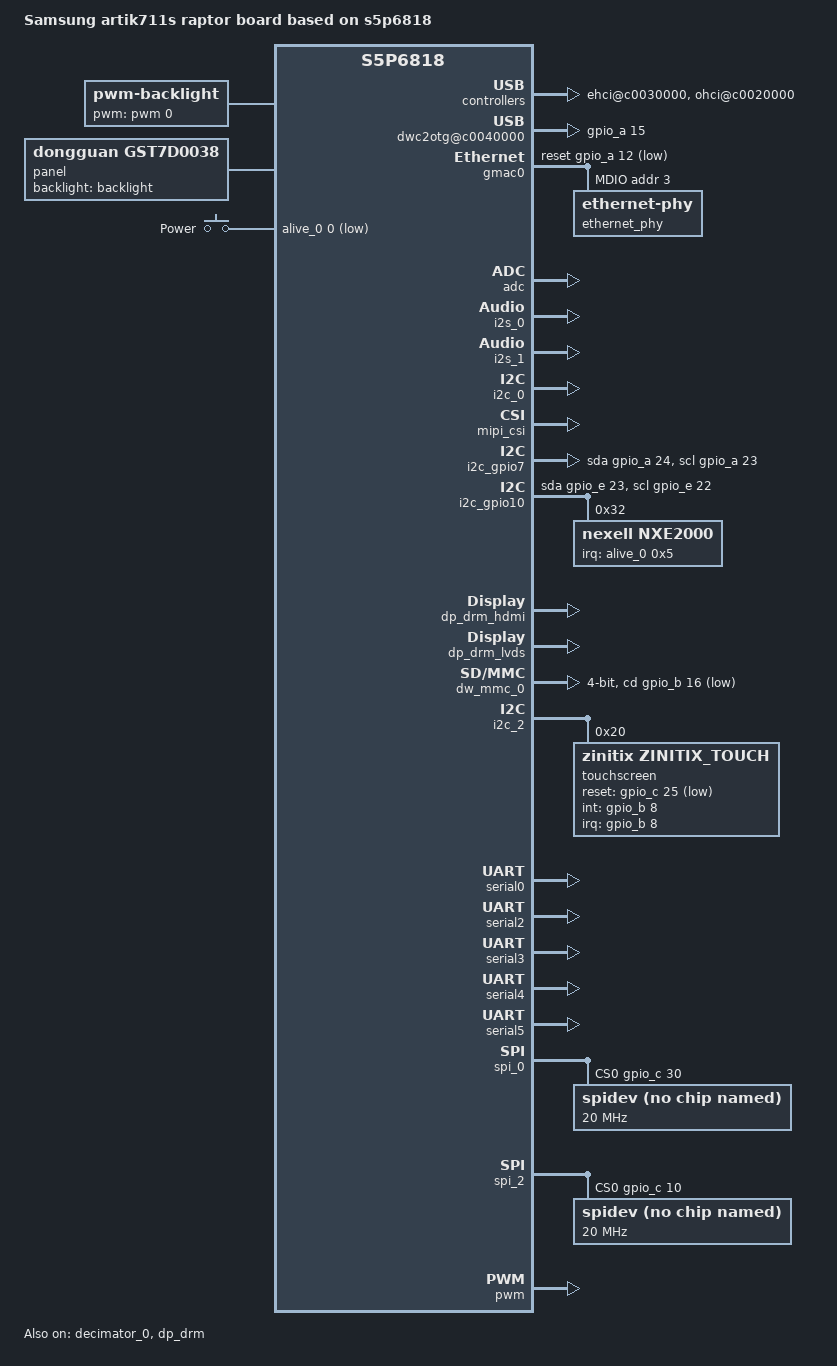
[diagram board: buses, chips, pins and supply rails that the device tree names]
/*
 * Copyright (C) 2018 Samsung Electronics
 * Author: Jaewon Kim <jaewon02.kim@samsung.com>
 *
 * This program is free software; you can redistribute it and/or
 * modify it under the terms of the GNU General Public License
 * as published by the Free Software Foundation; either version 2
 * of the License, or (at your option) any later version.
 *
 * This program is distributed in the hope that it will be useful,
 * but WITHOUT ANY WARRANTY; without even the implied warranty of
 * MERCHANTABILITY or FITNESS FOR A PARTICULAR PURPOSE.  See the
 * GNU General Public License for more details.
 *
 * You should have received a copy of the GNU General Public License
 * along with this program.  If not, see <http://www.gnu.org/licenses/>.
 */

/dts-v1/;
#include <dt-bindings/interrupt-controller/irq.h>
#include <dt-bindings/input/input.h>
#include "s5p6818-artik711s.dtsi"

#define PMIC_PDATA_INIT(_id, _rname, _minuv,	\
			_maxuv, _init_uv, _init_enable,		\
			_set_init_uV, _slp_slots)	\
		regulator-name = _rname;		\
		regulator-min-microvolt = <_minuv>;	\
		regulator-max-microvolt = <_maxuv>;	\
		nx,id = <_id>;				\
		nx,init_enable = <_init_enable>;	\
		nx,init_uV = <_init_uv>;		\
		nx,set_init_uV = <_set_init_uV>;	\
		nx,sleep_slots = <_slp_slots>;

/ {
	model = "Samsung artik711s raptor board based on s5p6818";
	compatible = "samsung,artik711s-raptor", "samsung,artik710-raptor",
		   "samsung,artik711s", "samsung,artik710",
		   "nexell,s5p6818";

	aliases {
		i2c7 = &i2c_gpio7;
		i2c10 = &i2c_gpio10;
	};

	nx-v4l2 {
		status = "okay";
	};

	nx-devfreq {
		pll = <0>;
		status = "okay";
	};

	soc {

		clocks {
			vip0:vip@c00c1000 { clock-frequency = <300000000>;};
			sdhc0:sdhc@c00c5000 {
			      clk-input = <(I_PLL2 | I_GATE_PCLK)>;
			};
			sdhc1:sdhc@c00cc000 {
			      clk-input = <(I_PLL2 | I_GATE_PCLK)>;
			};
			sdhc2:sdhc@c00cd000 {
			      clk-input = <(I_PLL2 | I_GATE_PCLK)>;
			};
			timer0:timer@c00b9000 {
			      clk-input = <I_PLL2>;
			};
			timer1:timer@c00bb000 {
			      clk-input = <I_PLL2>;
			};
			pwm0:pwm0@c00ba000 {
			      clk-input = <I_PLL2>;
			};
		};

		rtc@c0010c00 {
			status = "okay";
		};

		timer@c0017000 {
			clocks =  <&timer0>, <&timer1>;
			clock-names = "timer0", "timer1";
		};

		nexell_usbphy: nexell-usbphy@c0012000 {
			status = "okay";
		};

		ehci@c0030000 {
			samsung,vbus-gpio = <&gpio_a 16 0>;
			status = "okay";
			port@0 {
				status = "okay";
			};
			port@1 {
				status = "okay";
			};
		};

		ohci@c0020000 {
			status = "okay";
			port@0 {
				status = "okay";
			};
		};

		dwc2otg@c0040000 {
			gpios = <&gpio_a 15 0>;
			status = "okay";
		};

		gmac0:ethernet@c0060000 {
			pinctrl-names = "default";
			pinctrl-0 = <&gmac_pins>;

			status = "okay";
			#address-cells = <0x1>;
			#size-cells = <0x0>;

			snps,phy-addr = <3>;
			snps,reset-gpio = <&gpio_a 12 0>;
			snps,reset-active-low;
			snps,reset-delays-us = <0 10000 30000>;

			boost-busfreq;
			boost-busfreq-timeout = <100000>;

			mdio {
				#address-cells = <1>;
				#size-cells = <0>;

				ethernet_phy: ethernet-phy@3 {
					reg = <3>;
					fixed-link {
						speed = <1000>;
						full-duplex;
					};
				};
			};
		};

		adc:adc@c0053000 {
			status = "okay";
		};

		watchdog@c0019000 {
			status = "okay";
		};

		pinctrl@C0010000 {
			pmic_irq:pmic_irq{
				nexell,pins = "alive-5";
				nexell,pin-function = <NX_PIN_FUNC0>;
				nexell,pin-pull = <NX_PIN_PULL_UP>;
				nexell,pin-strength = <NX_PIN_STR0>;
			};

			sdmmc2_cclk: sdmmc2-cclk {
				nexell,pin-strength = <NX_PIN_STR3>;
			};

			sdmmc2_cmd: sdmmc2-cmd {
				nexell,pin-strength = <NX_PIN_STR3>;
			};

			sdmmc2_bus4: sdmmc2-bus-width4 {
				nexell,pin-strength = <NX_PIN_STR2>;
			};

			tsp_irq: tsp-irq {
				nexell,pins = "gpiob-8";
				nexell,pin-function = <NX_PIN_FUNC0>;
				nexell,pin-pull = <NX_PIN_PULL_UP>;
				nexell,pin-strength = <NX_PIN_STR0>;
			};

			tsp_reset: tsp-reset {
				nexell,pins = "gpioc-25";
				nexell,pin-function = <NX_PIN_FUNC0>;
				nexell,pin-pull = <NX_PIN_PULL_UP>;
				nexell,pin-strength = <NX_PIN_STR0>;
			};
		};

		video-codec@c0080000 {
			status = "okay";
			sram = <0 0>;
		};

		i2s_0:i2s@c0055000 {
			#sound-dai-cells = <1>;
			master-mode = <1>;
			mclk-in = <0>;
			trans-mode = <0>;
			frame-bit = <32>;
			sample-rate = <48000>;
			pre-supply-mclk = <1>;
			status = "okay";
		};

		i2s_1:i2s@c0056000 {
			#sound-dai-cells = <1>;
			master-mode = <1>;
			mclk-in = <0>;
			trans-mode = <0>;
			frame-bit = <32>;
			sample-rate = <48000>;
			pre-supply-mclk = <1>;
			status = "okay";
		};

		vip_0:vip@c0063000 {
			status = "okay";
		};

		i2c_0:i2c@c00a4000 {
			samsung,i2c-max-bus-freq = <400000>;
			status = "okay";
		};

		mipi_csi:mipi_csi@c00d0000 {
			data_lane = <2>;
			pllval = <750>;
			hssettle = <7 7 7 7>;
			status = "okay";
		};

		clipper_0:clipper0@c0063000 {
			interface_type = <NX_CAPTURE_INTERFACE_MIPI_CSI>;
			gpios = <&gpio_a 17 0 &gpio_a 3 0 &gpio_a 6 0>;
			data_order = <NX_VIN_Y0CBY1CR>;
			status = "okay";
			sensor {
				type = <NX_CAPTURE_SENSOR_I2C>;
				i2c_name = "S5K4ECGA";
				i2c_adapter = <0>;
				addr = <0x56>;
			};
			power {
				enable_seq = <
					NX_ACTION_START NX_ACTION_TYPE_GPIO 2 1 2 NX_ACTION_END
					NX_ACTION_START NX_ACTION_TYPE_GPIO 1 1 1 NX_ACTION_END
					NX_ACTION_START NX_ACTION_TYPE_GPIO 0 1 1 NX_ACTION_END
				>;

				disable_seq = <
					NX_ACTION_START NX_ACTION_TYPE_GPIO 0 0 1 NX_ACTION_END
					NX_ACTION_START NX_ACTION_TYPE_GPIO 1 0 1 NX_ACTION_END
					NX_ACTION_START NX_ACTION_TYPE_GPIO 2 0 2 NX_ACTION_END
				>;
			};
		};

		scaler@c0066000 {
			status = "okay";
		};
	};	/*** soc ***/

	backlight: pwm-backlight {
		compatible = "pwm-backlight";
		pwms = <&pwm 0 20000 0>;
		pwm-names = "pwm-backlight";
		brightness-levels = < 0  1  2  3  4  5  6  7  8  9
				     10 11 12 13 14 15 16 17 18 19
				     20 21 22 23 24 25 26 27 28 29
				     30 31 32 33 34 35 36 37 38 39
				     40 41 42 43 44 45 46 47 48 49
				     50 51 52 53 54 55 56 57 58 59
				     60 61 62 63 64 65 66 67 68 69
				     70 71 72 73 74 75 76 77 78 79
				     80 81 82 83 84 85 86 87 88 89
				     90 91 92 93 94 95 96 97 98 99
				    100>;
		default-brightness-level = <60>;
		status = "okay";
	};

	panel: panel-simple {
		compatible = "dongguan,gst7d0038";
		backlight = <&backlight>;
		status = "okay";

		port {
			lvds_panel: endpoint {
			};
		};
	};

	i2c_gpio7:i2c@7 {
		compatible = "i2c-gpio";
		gpios = <&gpio_a 24 0 /* sda */
			&gpio_a 23 0 /* scl */
			>;
		i2c-gpio,delay-us = <100>;
		#address-cells = <1>;
		#size-cells = <0>;
	};

	i2c_gpio10: i2c@10 {
		compatible = "i2c-gpio";
		gpios = <&gpio_e 23 0	/* sda */
			&gpio_e 22 0	/* scl */
			>;

		i2c-gpio,delay-us = <1>;	/* ~100kHz */
		#address-cells = <1>;
		#size-cells = <0>;
		status = "okay";

		nxe2000@32 {
			compatible = "nexell,nxe2000";
			reg = <0x32>;
			interrupt-parent = <&alive_0>;
			interrupts = <0x5 IRQ_TYPE_EDGE_FALLING>;
			pinctrl-names = "default";
			pinctrl-0 = <&pmic_irq>;
		};
	};

	snd_null: snd_null@10 {
		#sound-dai-cells = <0>;
		compatible = "nexell,snd-null";
		#address-cells = <1>;
		#size-cells = <0>;
		reg = <0 0>;
	};

	sound0: sound@0 {
		compatible = "simple-audio-card";
		simple-audio-card,name = "Artik710 raptor Audio";
		simple-audio-card,mclk-fs = <256>;
		status = "okay";

		simple-audio-card,dai-link@0 {
			format = "i2s";
			cpu {
				sound-dai = <&i2s_0 0>;
			};

			codec {
				sound-dai = <&snd_null>;
			};
		};

		simple-audio-card,dai-link@1 {
			cpu {
				sound-dai = <&i2s_1 0>;
			};

			codec {
				sound-dai = <&snd_null>;
			};
		};
	};

	gpio_key: gpio_keys {
		compatible = "gpio-keys";
		#address-cells = <1>;
		#size-cells = <0>;

		power {
			label = "Power";
			gpios = <&alive_0 0 1>;
			linux,code = <KEY_POWER>;
			gpio-key,wakeup;
		};
	};

	regulators {
		VCC_DCDC0:
			dcdc1	{ PMIC_PDATA_INIT( 0,
				"nxe2000_dcdc1",
				900000, 1500000,
				1100000, 1, 0, 0x4)
				regulator-always-on;
				regulator-boot-on;};
		VCC_DCDC1:
			dcdc2	{ PMIC_PDATA_INIT( 1,
				"nxe2000_dcdc2",
				1000000, 1500000,
				1200000, 1, 0, 0x4)
				regulator-always-on;
				regulator-boot-on;};
		VCC_DCDC2:
			dcdc3	{ PMIC_PDATA_INIT( 2,
				"nxe2000_dcdc3",
				1000000, 3500000,
				3300000, 1, 1, 0xF)
				regulator-always-on;
				regulator-boot-on;};
		VCC_DCDC3:
			dcdc4	{ PMIC_PDATA_INIT( 3,
				"nxe2000_dcdc4",
				1000000, 2000000,
				1500000, 1, 0, 0xF)
				regulator-always-on;
				regulator-boot-on;};
		VCC_DCDC4:
			dcdc5	{ PMIC_PDATA_INIT( 4,
				"nxe2000_dcdc5",
				1000000, 2000000,
				1500000, 1, 0, 0x4)
				regulator-always-on;
				regulator-boot-on;};
		VCC_LDO0:
			ldo1	{ PMIC_PDATA_INIT( 5,
				"nxe2000_ldo1",
				1000000, 3500000,
				3300000, 0, 1, 0x0)
				regulator-boot-on;};
		VCC_LDO1:
			ldo2	{ PMIC_PDATA_INIT( 6,
				"nxe2000_ldo2",
				1000000, 3500000,
				3300000, 0, 1, 0x0)
				regulator-boot-on;};
		VCC_LDO2:
			ldo3	{ PMIC_PDATA_INIT( 7,
				"nxe2000_ldo3",
				1000000, 3500000,
				1800000, 1, 1, 0xF)
				regulator-always-on;
				regulator-boot-on;};
		VCC_LDO3:
			ldo4	{ PMIC_PDATA_INIT( 8,
				"nxe2000_ldo4",
				1000000, 3500000,
				1800000, 1, 1, 0x2)
				regulator-always-on;
				regulator-boot-on;};
		VCC_LDO4:
			ldo5	{ PMIC_PDATA_INIT( 9,
				"nxe2000_ldo5",
				1000000, 3500000,
				3300000, 0, 1, 0x0)
				regulator-boot-on;};
		VCC_LDO5:
			ldo6	{ PMIC_PDATA_INIT(10,
				"nxe2000_ldo6",
				1000000, 3500000,
				3300000, 1, 1, 0xF)
				regulator-always-on;
				regulator-boot-on;};
		VCC_LDO6:
			ldo7	{ PMIC_PDATA_INIT(11,
				"nxe2000_ldo7",
				1000000, 3500000,
				3300000, 1, 1, 0x0)
				regulator-always-on;
				regulator-boot-on;};
		VCC_LDO7:
			ldo8	{ PMIC_PDATA_INIT(12,
				"nxe2000_ldo8",
				1000000, 3500000,
				3300000, 0, 1, 0xF)
				regulator-boot-on;};
		VCC_LDO8:
			ldo9	{ PMIC_PDATA_INIT(13,
				"nxe2000_ldo9",
				1000000, 3500000,
				1800000, 0, 1, 0x2)
				regulator-boot-on;};
		VCC_LDO9:
			ldo10	{ PMIC_PDATA_INIT(14,
				"nxe2000_ldo10",
				1000000, 3500000,
				1200000, 1, 1, 0x4)
				regulator-always-on;
				regulator-boot-on;};
		VCC_RTC0:
			ldortc1	{ PMIC_PDATA_INIT(15,
				"nxe2000_rtc1",
				1700000, 3500000,
				1800000, 1, 1, 0xF)
				regulator-always-on;
				regulator-boot-on;};
		VCC_RTC1:
			ldortc2	{ PMIC_PDATA_INIT(16,
				"nxe2000_rtc2",
				1000000, 3500000,
				1000000, 1, 1, 0xF)
				regulator-always-on;
				regulator-boot-on;};
	}; /* regulators */

};

&decimator_0 {
	status = "okay";
};

&dp_drm {
        status = "okay";
        ports {
                port@0 {
                        reg = <0>;
                        back_color = < 0x0 >;
                        color_key = < 0x0 >;
			plane-names = "video", "primary", "rgb";
		};
                port@1 {
                        reg = <1>;
                        back_color = < 0x0 >;
                        color_key = < 0x0 >;
			plane-names = "video", "primary";
		};
       };
};

&dp_drm_hdmi {
	ddc-i2c-bus = <&i2c_gpio7>;
	enable-gpios = <&gpio_a 21 0>;
	status = "ok";
	q_range = <0>;
};

&dp_drm_lvds {
	status = "ok";

	remote-endpoint = <&lvds_panel>;

	dp_control {
		clk_src_lv0 = <3>;
		clk_div_lv0 = <16>;
		clk_src_lv1 = <7>;
		clk_div_lv1 = <1>;
		out_format = <3>;
	};
};

&dw_mmc_0 {
	num-slots = <1>;
	bus-width = <4>;
	cap-sd-highspeed;
	clock-frequency = <100000000>;
	card-detect-delay = <200>;
	disable-wp;
	cd-gpios = <&gpio_b 16 0>;
	cd-inverted;
	nexell,drive_dly = <0x0>;
	nexell,drive_shift = <0x02>;
	nexell,sample_dly = <0x00>;
	nexell,sample_shift = <0x01>;
	status = "okay";
};

&i2c_2 {
	#address-cells = <1>;
	#size-cells = <0>;
	status = "okay";

	touchscreen@20 {
		compatible = "zinitix,zinitix_touch";
		reg = <0x20>;
		interrupt-parent = <&gpio_b>;
		interrupts = <8 IRQ_TYPE_EDGE_FALLING>;
		reset-gpio = <&gpio_c 25 1>;
		int-gpio = <&gpio_b 8 0>;
		pinctrl-names = "default";
		pinctrl-0 = <&tsp_irq &tsp_reset>;
	};
};

&serial0 {
	status = "okay";
};

&serial2 {
	status = "okay";
};

&serial3 {
	status = "okay";
};

&serial4 {
	status = "okay";
};

&serial5 {
	status = "okay";
};

&spi_0 {
	status = "okay";
	cs-gpios = <&gpio_c 30 0>;
	hierarchy = <1>; /* 0:master, 1:slave */
	spidev@0 {
		compatible = "linux,spidev";
		reg = <0>;
		spi-max-frequency = <20000000>;
		controller-data {
			samsung,spi-feedback-delay = <0>;
		};
	};
};

&spi_2 {
	status = "okay";
	cs-gpios = <&gpio_c 10 0>;
	spidev@0 {
		compatible = "linux,spidev";
		reg = <0>;
		spi-max-frequency = <20000000>;
		controller-data {
			samsung,spi-feedback-delay = <0>;
		};
	};
};

&pwm {
	status = "okay";
	clocks =  <&pwm0>, <&pwm2>;
	clock-names = "pwm-tclk0", "pwm-tclk1";
	pinctrl-0 = <&pwm0_pin &pwm1_pin>;
	samsung,pwm-outputs = <0>, <1>;
};
